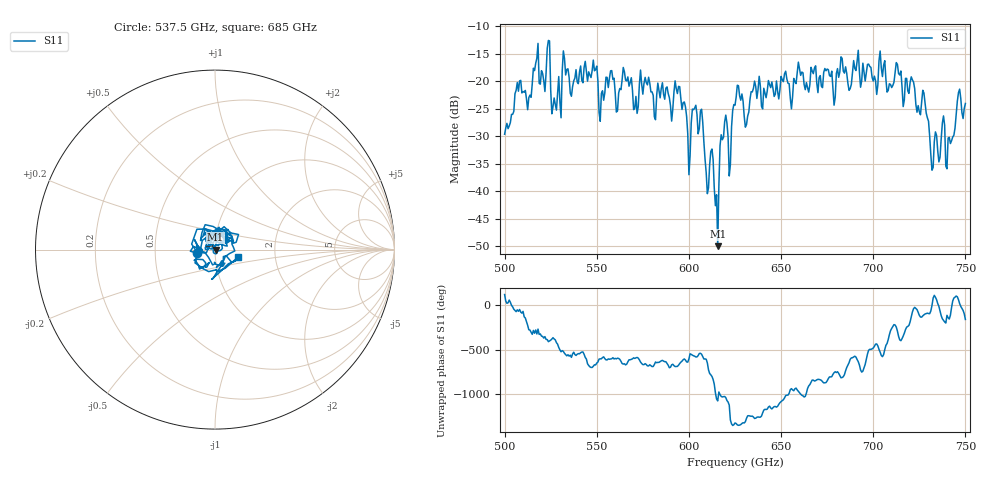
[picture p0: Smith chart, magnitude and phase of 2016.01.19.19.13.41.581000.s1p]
!Created with skrf (http://scikit-rf.org).
# GHz S RI R 50.0
!freq ReS11 ImS11
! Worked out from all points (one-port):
!   401 points, 500 GHz to 750 GHz, reference 50 ohm
!   lowest |S11| = -50.0 dB at 615.6 GHz (marker M1), VSWR 1.01, Z = 50.3 + j0.0248 ohm
!   |S11| at or under -10 dB: start of sweep to end of sweep
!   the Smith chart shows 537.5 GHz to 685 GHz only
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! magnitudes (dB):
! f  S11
! 500 GHz  -29.6
! 507.5 GHz  -21.8
! 513.1 GHz  -23.0
! 516.9 GHz  -16.7
! 520.6 GHz  -18.6
! 523.8 GHz  -12.6
! 526.9 GHz  -23.0
! 531.2 GHz  -18.2
! 562.5 GHz  -21.3
! 593.8 GHz  -22.2
! 600 GHz  -37.0
! 603.1 GHz  -24.9
! 606.9 GHz  -25.1
! 609.4 GHz  -36.6
! 612.5 GHz  -32.3
! 615.6 GHz  -50.0
! 618.1 GHz  -30.6
! 622.5 GHz  -35.1
! 625 GHz  -24.4
! 631.2 GHz  -27.9
! 656.2 GHz  -22.8
! 660 GHz  -17.8
! 687.5 GHz  -21.3
! 690.6 GHz  -18.1
! 718.8 GHz  -21.8
! 728.1 GHz  -24.0
! 731.9 GHz  -36.2
! 750 GHz  -24.0
